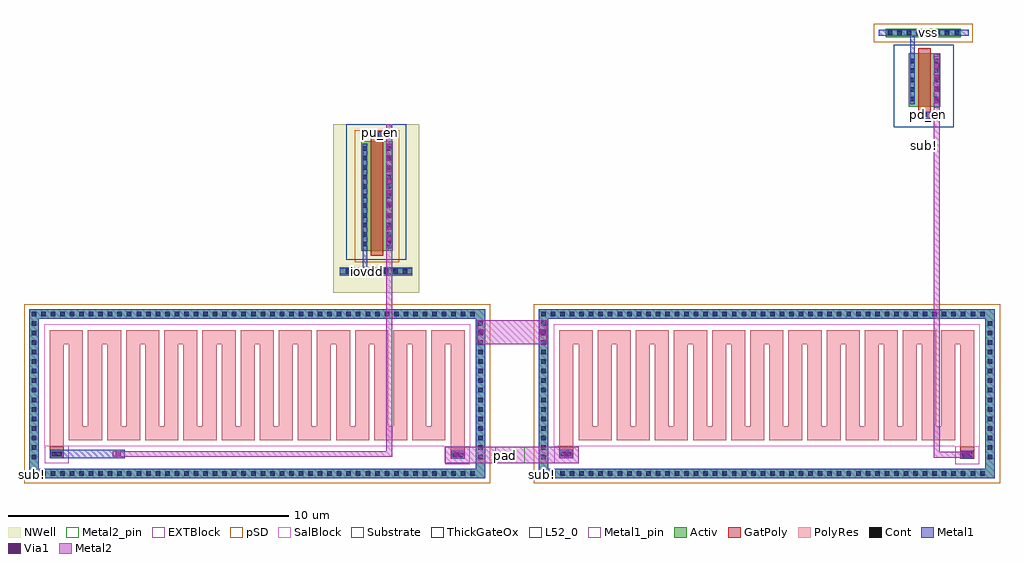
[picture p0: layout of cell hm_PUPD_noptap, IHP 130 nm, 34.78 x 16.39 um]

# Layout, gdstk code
import gdstk
lib = gdstk.Library(unit=1e-6, precision=1e-09)
def R(c, l, rs):  # rectangles x0, y0, x1, y1
    for r in rs: c.add(gdstk.rectangle(r[:2], r[2:], *l))
def A(c, l, x, y, w, h, nx, ny, dx, dy):  # array of equal rectangles
    R(c, l, [(x+i*dx, y+j*dy, x+i*dx+w, y+j*dy+h) for i in range(nx) for j in range(ny)])
def P(c, l, *ps):  # polygons
    for p in ps: c.add(gdstk.Polygon(p, *l))
Activ = (1, 0)
GatPoly = (5, 0)
Cont = (6, 0)
Metal1 = (8, 0)
Metal1_pin = (8, 2)
Metal2 = (10, 0)
Metal2_pin = (10, 2)
pSD = (14, 0)
Via1 = (19, 0)
SalBlock = (28, 0)
NWell = (31, 0)
Substrate = (40, 0)
ThickGateOx = (44, 0)
L52_0 = (52, 0)
EXTBlock = (111, 0)
PolyRes = (128, 0)

rppd_1 = lib.new_cell('rppd$1')
R(rppd_1, GatPoly, [(14.28,1.45,14.78,1.68), (0,1.48,0.5,1.71), (14.28,1.68,14.78,1.88), (0,1.71,0.5,1.91)])
R(rppd_1, Cont, [(14.35,1.52,14.71,1.68), (0.07,1.55,0.43,1.71)])
R(rppd_1, Metal1, [(14.3,1.45,14.76,1.75), (0.02,1.48,0.48,1.78)])
R(rppd_1, Metal1_pin, [(14.3,1.45,14.76,1.75), (0.02,1.48,0.48,1.78)])
R(rppd_1, pSD, [(14.1,1.27,14.96,1.88), (-0.18,1.3,0.68,1.93), (14.1,1.88,14.96,1.93), (-0.18,1.93,14.96,6.225)])
R(rppd_1, SalBlock, [(14.08,1.88,14.98,1.91), (-0.2,1.91,14.98,6.245)])
A(rppd_1, L52_0, 0.68, 2.11, 1.18, 0.5, 10, 1, 1.36, 0)
A(rppd_1, L52_0, 0.68, 2.61, 0.5, 2.935, 20, 1, 0.68, 0)
A(rppd_1, L52_0, 0, 5.545, 1.18, 0.5, 11, 1, 1.36, 0)
R(rppd_1, L52_0, [(14.28,1.88,14.78,5.545), (0,1.91,0.5,5.545)])
R(rppd_1, EXTBlock, [(14.1,1.27,14.96,1.88), (-0.18,1.3,0.68,1.91), (14.08,1.88,14.98,1.91), (-0.2,1.91,14.98,6.245)])
A(rppd_1, PolyRes, 0.68, 2.11, 1.18, 0.5, 10, 1, 1.36, 0)
A(rppd_1, PolyRes, 0.68, 2.61, 0.5, 2.935, 20, 1, 0.68, 0)
A(rppd_1, PolyRes, 0, 5.545, 1.18, 0.5, 11, 1, 1.36, 0)
R(rppd_1, PolyRes, [(14.28,1.88,14.78,5.545), (0,1.91,0.5,5.545)])
rppd_1.add(gdstk.Label('rppd r=41898.039', (0.25,3.382), layer=63, texttype=0))
rppd_1.add(gdstk.Label('rppd', (14.53,3.717), layer=52, texttype=0))
rppd_1.add(gdstk.Label('rppd', (14.19,5.799), layer=52, texttype=0))
rppd_1.add(gdstk.Label('rppd', (13.85,4.081), layer=52, texttype=0))
rppd_1.add(gdstk.Label('rppd', (13.51,2.364), layer=52, texttype=0))
rppd_1.add(gdstk.Label('rppd', (13.17,4.081), layer=52, texttype=0))
rppd_1.add(gdstk.Label('rppd', (12.83,5.799), layer=52, texttype=0))
rppd_1.add(gdstk.Label('rppd', (12.49,4.081), layer=52, texttype=0))
rppd_1.add(gdstk.Label('rppd', (12.15,2.364), layer=52, texttype=0))
rppd_1.add(gdstk.Label('rppd', (11.81,4.081), layer=52, texttype=0))
rppd_1.add(gdstk.Label('rppd', (11.47,5.799), layer=52, texttype=0))
rppd_1.add(gdstk.Label('rppd', (11.13,4.081), layer=52, texttype=0))
rppd_1.add(gdstk.Label('rppd', (10.79,2.364), layer=52, texttype=0))
rppd_1.add(gdstk.Label('rppd', (10.45,4.081), layer=52, texttype=0))
rppd_1.add(gdstk.Label('rppd', (10.11,5.799), layer=52, texttype=0))
rppd_1.add(gdstk.Label('rppd', (9.77,4.081), layer=52, texttype=0))
rppd_1.add(gdstk.Label('rppd', (9.43,2.364), layer=52, texttype=0))
rppd_1.add(gdstk.Label('rppd', (9.09,4.081), layer=52, texttype=0))
rppd_1.add(gdstk.Label('rppd', (8.75,5.799), layer=52, texttype=0))
rppd_1.add(gdstk.Label('rppd', (8.41,4.081), layer=52, texttype=0))
rppd_1.add(gdstk.Label('rppd', (8.07,2.364), layer=52, texttype=0))
rppd_1.add(gdstk.Label('rppd', (7.73,4.081), layer=52, texttype=0))
rppd_1.add(gdstk.Label('rppd', (7.39,5.799), layer=52, texttype=0))
rppd_1.add(gdstk.Label('rppd', (7.05,4.081), layer=52, texttype=0))
rppd_1.add(gdstk.Label('rppd', (6.71,2.364), layer=52, texttype=0))
rppd_1.add(gdstk.Label('rppd', (6.37,4.081), layer=52, texttype=0))
rppd_1.add(gdstk.Label('rppd', (6.03,5.799), layer=52, texttype=0))
rppd_1.add(gdstk.Label('rppd', (5.69,4.081), layer=52, texttype=0))
rppd_1.add(gdstk.Label('rppd', (5.35,2.364), layer=52, texttype=0))
rppd_1.add(gdstk.Label('rppd', (5.01,4.081), layer=52, texttype=0))
rppd_1.add(gdstk.Label('rppd', (4.67,5.799), layer=52, texttype=0))
rppd_1.add(gdstk.Label('rppd', (4.33,4.081), layer=52, texttype=0))
rppd_1.add(gdstk.Label('rppd', (3.99,2.364), layer=52, texttype=0))
rppd_1.add(gdstk.Label('rppd', (3.65,4.081), layer=52, texttype=0))
rppd_1.add(gdstk.Label('rppd', (3.31,5.799), layer=52, texttype=0))
rppd_1.add(gdstk.Label('rppd', (2.97,4.081), layer=52, texttype=0))
rppd_1.add(gdstk.Label('rppd', (2.63,2.364), layer=52, texttype=0))
rppd_1.add(gdstk.Label('rppd', (2.29,4.081), layer=52, texttype=0))
rppd_1.add(gdstk.Label('rppd', (1.95,5.799), layer=52, texttype=0))
rppd_1.add(gdstk.Label('rppd', (1.61,4.081), layer=52, texttype=0))
rppd_1.add(gdstk.Label('rppd', (1.27,2.364), layer=52, texttype=0))
rppd_1.add(gdstk.Label('rppd', (0.93,4.081), layer=52, texttype=0))
rppd_1.add(gdstk.Label('rppd', (0.59,5.799), layer=52, texttype=0))
rppd_1.add(gdstk.Label('rppd', (0.25,3.732), layer=52, texttype=0))

hm_pupd_noptap = lib.new_cell('hm_PUPD_noptap')
R(hm_pupd_noptap, Activ, [(-17.49,-7.375,-1.23,-7.035), (0.67,-7.375,16.93,-7.035), (-17.49,-7.035,-17.15,-1.685), (-1.57,-7.035,-1.23,-1.685), (0.67,-7.035,1.01,-1.685), (16.59,-7.035,16.93,-1.685), (-17.49,-1.685,-1.23,-1.345), (0.67,-1.685,16.93,-1.345), (-6.415,-0.15,-3.83,0.15), (-5.66,0.73,-4.53,4.63), (13.85,5.87,14.98,7.77), (13.04,8.35,15.72,8.65)])
R(hm_pupd_noptap, GatPoly, [(-5.32,0.55,-4.87,5), (14.19,5.415,14.64,7.95)])
A(hm_pupd_noptap, Cont, -17.4, -7.285, 0.16, 0.16, 47, 2, 0.34, 5.69)
A(hm_pupd_noptap, Cont, 0.76, -7.285, 0.16, 0.16, 47, 2, 0.34, 5.69)
A(hm_pupd_noptap, Cont, -17.4, -6.695, 0.16, 0.16, 1, 15, 0, 0.34)
A(hm_pupd_noptap, Cont, -1.48, -6.695, 0.16, 0.16, 1, 15, 0, 0.34)
A(hm_pupd_noptap, Cont, 0.76, -6.695, 0.16, 0.16, 1, 15, 0, 0.34)
A(hm_pupd_noptap, Cont, 16.68, -6.695, 0.16, 0.16, 1, 15, 0, 0.34)
A(hm_pupd_noptap, Cont, -6.205, -0.08, 0.16, 0.16, 7, 1, 0.34, 0)
A(hm_pupd_noptap, Cont, -5.59, 0.9, 0.16, 0.16, 1, 11, 0, 0.34)
A(hm_pupd_noptap, Cont, -4.76, 0.9, 0.16, 0.16, 1, 11, 0, 0.34)
A(hm_pupd_noptap, Cont, 13.92, 6.06, 0.16, 0.16, 1, 5, 0, 0.34)
A(hm_pupd_noptap, Cont, 14.75, 6.06, 0.16, 0.16, 1, 5, 0, 0.34)
A(hm_pupd_noptap, Cont, 13.11, 8.42, 0.16, 0.16, 8, 1, 0.34, 0)
R(hm_pupd_noptap, Cont, [(-5.18,4.77,-5.02,4.93), (14.335,5.51,14.495,5.67)])
R(hm_pupd_noptap, Metal1, [(-17.49,-7.375,-1.57,-7.035), (-1.57,-7.375,-1.23,-1.685), (0.67,-7.375,16.59,-7.035), (16.59,-7.375,16.93,-1.685), (-17.49,-7.035,-17.15,-1.685), (0.67,-7.035,1.01,-1.685), (-16.73,-6.655,-14.085,-6.355), (-17.49,-1.685,-1.23,-1.345), (0.67,-1.685,16.93,-1.345), (-6.415,-0.105,-3.83,0.105), (-5.59,0.105,-5.43,4.54), (-4.76,0.82,-4.55,5.25), (-5.32,4.73,-4.94,4.985), (14.19,5.415,14.64,5.695), (14.75,5.84,14.96,7.66), (13.92,5.955,14.08,8.395), (12.795,8.395,16,8.605)])
R(hm_pupd_noptap, Metal1_pin, [(-6.415,-0.105,-3.83,0.105), (-5.32,4.73,-4.94,4.985), (14.19,5.415,14.64,5.695), (12.795,8.395,16,8.605)])
R(hm_pupd_noptap, Metal2, [(-2.67,-6.835,2.09,-6.255), (-1.52,-2.595,0.955,-1.74), (-4.755,1.02,-4.555,5.25)])
R(hm_pupd_noptap, Metal2_pin, [(-0.88,-6.835,0.18,-6.255), (-4.755,1.02,-4.555,5.25), (-4.755,1.02,-4.555,5.13)])
R(hm_pupd_noptap, pSD, [(-17.67,-7.555,-1.05,-1.165), (0.49,-7.555,17.11,-1.165), (-5.89,0.33,-4.295,5.03), (12.615,8.17,16.14,8.83)])
A(hm_pupd_noptap, Via1, -4.75, 1.07, 0.19, 0.19, 1, 10, 0, 0.41)
A(hm_pupd_noptap, Via1, 14.76, 5.99, 0.19, 0.19, 1, 4, 0, 0.41)
R(hm_pupd_noptap, Via1, [(-2.325,-6.63,-2.135,-6.44), (15.85,-6.63,16.04,-6.44), (-14.405,-6.6,-14.215,-6.41), (1.565,-6.6,1.755,-6.41), (-1.47,-2.245,-1.28,-2.055), (0.715,-2.245,0.905,-2.055)])
R(hm_pupd_noptap, NWell, [(-6.655,-0.77,-3.59,5.25)])
R(hm_pupd_noptap, Substrate, [(13.04,8.35,15.72,8.65)])
P(hm_pupd_noptap, Substrate, [(-17.49,-7.375),(-17.49,-1.345),(-17.15,-1.345),(-17.15,-7.035),(-1.57,-7.035),(-1.57,-1.685),(-17.15,-1.685),(-17.15,-1.345),(-1.23,-1.345),(-1.23,-7.375)],
  [(0.67,-7.375),(0.67,-1.345),(1.01,-1.345),(1.01,-7.035),(16.59,-7.035),(16.59,-1.685),(1.01,-1.685),(1.01,-1.345),(16.93,-1.345),(16.93,-7.375)])
R(hm_pupd_noptap, ThickGateOx, [(-6.18,0.42,-4.055,5.25), (13.33,5.145,15.455,8.08)])
hm_pupd_noptap.add(gdstk.FlexPath([(-4.655,1.02),(-4.655,-6.505),(-14.515,-6.505)], 0.2, ends="flush", simple_path=True, layer=10, datatype=0))  # Metal2
hm_pupd_noptap.add(gdstk.FlexPath([(14.855,7.74),(14.855,-6.535),(16.17,-6.535)], 0.2, ends="flush", simple_path=True, layer=10, datatype=0))  # Metal2
hm_pupd_noptap.add(gdstk.Reference(rppd_1, (1.41,-8.135)))
hm_pupd_noptap.add(gdstk.Reference(rppd_1, (-16.75,-8.135)))
hm_pupd_noptap.add(gdstk.Label('sub!', (-17.35,-7.24), layer=63, texttype=0))
hm_pupd_noptap.add(gdstk.Label('sub!', (0.81,-7.24), layer=63, texttype=0))
hm_pupd_noptap.add(gdstk.Label('sub!', (14.405,4.485), layer=63, texttype=0))
hm_pupd_noptap.add(gdstk.Label('vss', (14.55,8.5), layer=8, texttype=25))
hm_pupd_noptap.add(gdstk.Label('pu_en', (-4.965,4.935), layer=8, texttype=25))
hm_pupd_noptap.add(gdstk.Label('pd_en', (14.545,5.575), layer=8, texttype=25))
hm_pupd_noptap.add(gdstk.Label('iovdd', (-5.445,0), layer=8, texttype=25))
hm_pupd_noptap.add(gdstk.Label('pad', (-0.515,-6.55), layer=10, texttype=25))

lib.write_gds('hm_PUPD_noptap.gds')
